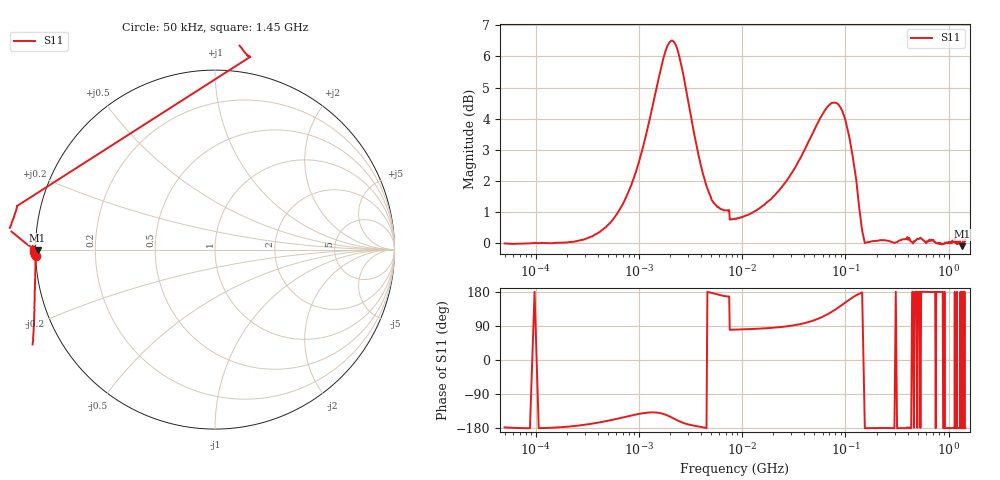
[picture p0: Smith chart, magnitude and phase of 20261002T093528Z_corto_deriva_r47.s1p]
! piloto_deriva / corto_deriva / r47
# HZ S RI R 50
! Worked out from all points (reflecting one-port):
!   501 points, 50 kHz to 1.45 GHz, reference 50 ohm
!   lowest |S11| = -0.1 dB at 1.351 GHz (marker M1), VSWR 176.49, Z = 0.283 - j0.08 ohm
!   phase of S11 starts at -178 deg and turns -2 deg over the sweep
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50000  -0.9982 -0.0373
183000  -1 -0.0526
354000  -1.003 -0.2148
658000  -1.014 -0.5117
1180000  -1.137 -0.9795
1630000  -1.472 -1.211
1990000  -1.81 -1.076
2170000  -1.903 -0.909
2440000  -1.9 -0.6408
3070000  -1.63 -0.2689
4330000  -1.263 -0.0318
7300000  -1.102 0.242
7750000  0.1941 1.074
8560000  0.1866 1.079
1.99e7  0.1004 1.183
3.16e7  -0.0363 1.312
4.69e7  -0.3233 1.453
6.76e7  -0.8611 1.418
7.93e7  -1.139 1.236
9.37e7  -1.355 0.9005
9.82e7  -1.385 0.7843
1e8  -1.39 0.7384
1.18e8  -1.329 0.3389
1.36e8  -1.134 0.1005
1.63e8  -1.003 -0.00248
4.06e8  -1.012 -0.00416
1.351e9  -0.9887 -0.00316
1.45e9  -1.013 -0.00749
